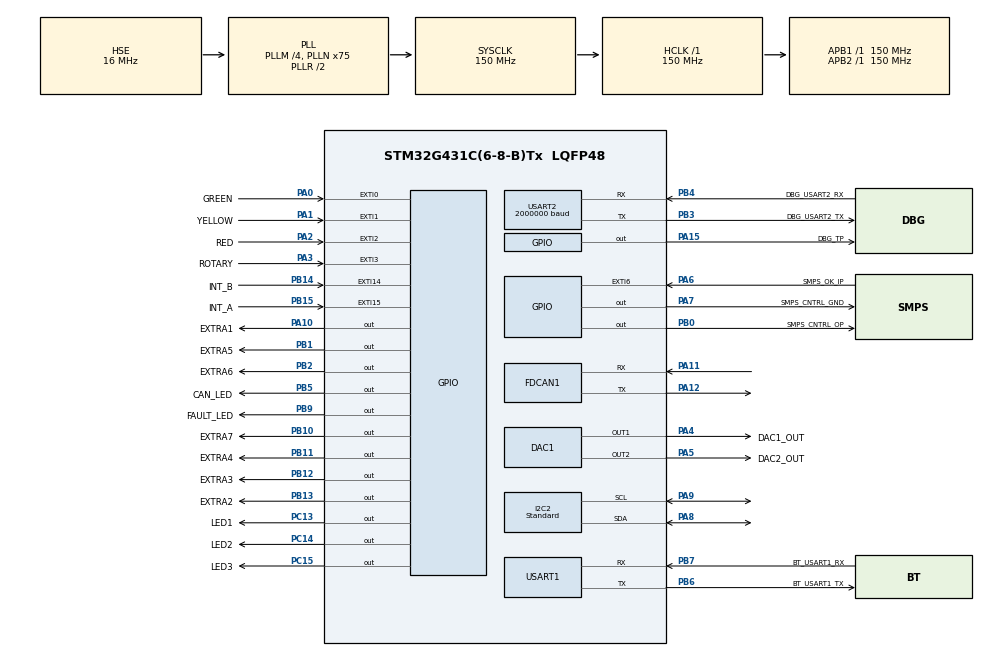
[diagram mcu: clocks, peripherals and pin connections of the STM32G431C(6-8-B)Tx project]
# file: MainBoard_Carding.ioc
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DAC1.DAC_Channel-DAC_OUT2=DAC_CHANNEL_2
Dma.Request0=USART1_RX
Dma.Request1=USART2_TX
Dma.USART1_RX.0.Direction=DMA_PERIPH_TO_MEMORY
Dma.USART1_RX.0.EventEnable=DISABLE
Dma.USART1_RX.0.Instance=DMA1_Channel1
Dma.USART1_RX.0.MemDataAlignment=DMA_MDATAALIGN_BYTE
Dma.USART1_RX.0.MemInc=DMA_MINC_ENABLE
Dma.USART1_RX.0.Mode=DMA_NORMAL
Dma.USART1_RX.0.PeriphDataAlignment=DMA_PDATAALIGN_BYTE
Dma.USART1_RX.0.PeriphInc=DMA_PINC_DISABLE
Dma.USART1_RX.0.Polarity=HAL_DMAMUX_REQ_GEN_RISING
Dma.USART1_RX.0.Priority=DMA_PRIORITY_LOW
Dma.USART1_RX.0.RequestNumber=1
Dma.USART1_RX.0.SignalID=NONE
Dma.USART1_RX.0.SyncEnable=DISABLE
Dma.USART1_RX.0.SyncPolarity=HAL_DMAMUX_SYNC_NO_EVENT
Dma.USART1_RX.0.SyncRequestNumber=1
Dma.USART1_RX.0.SyncSignalID=NONE
Dma.USART2_TX.1.Direction=DMA_MEMORY_TO_PERIPH
Dma.USART2_TX.1.EventEnable=DISABLE
Dma.USART2_TX.1.Instance=DMA1_Channel2
Dma.USART2_TX.1.MemDataAlignment=DMA_MDATAALIGN_BYTE
Dma.USART2_TX.1.MemInc=DMA_MINC_ENABLE
Dma.USART2_TX.1.Mode=DMA_NORMAL
Dma.USART2_TX.1.PeriphDataAlignment=DMA_PDATAALIGN_BYTE
Dma.USART2_TX.1.PeriphInc=DMA_PINC_DISABLE
Dma.USART2_TX.1.Polarity=HAL_DMAMUX_REQ_GEN_RISING
Dma.USART2_TX.1.Priority=DMA_PRIORITY_LOW
Dma.USART2_TX.1.RequestNumber=1
Dma.USART2_TX.1.SignalID=NONE
Dma.USART2_TX.1.SyncEnable=DISABLE
Dma.USART2_TX.1.SyncPolarity=HAL_DMAMUX_SYNC_NO_EVENT
Dma.USART2_TX.1.SyncRequestNumber=1
Dma.USART2_TX.1.SyncSignalID=NONE
FDCAN1.AutoRetransmission=ENABLE
FDCAN1.CalculateBaudRateNominal=5000000
FDCAN1.CalculateTimeBitNominal=200
FDCAN1.CalculateTimeQuantumNominal=6.666666666666667
FDCAN1.ClockDivider=FDCAN_CLOCK_DIV10
FDCAN1.DataSyncJumpWidth=3
FDCAN1.DataTimeSeg1=11
FDCAN1.DataTimeSeg2=3
FDCAN1.ExtFiltersNbr=1
FDCAN1.FrameFormat=FDCAN_FRAME_FD_BRS
FDCAN1.NominalPrescaler=1
FDCAN1.NominalSyncJumpWidth=6
FDCAN1.NominalTimeSeg1=23
FDCAN1.NominalTimeSeg2=6
FDCAN1.ProtocolException=DISABLE
FDCAN1.StdFiltersNbr=1
FDCAN1.TransmitPause=ENABLE
I2C2.Analog_Filter=I2C_ANALOGFILTER_DISABLE
I2C2.I2C_Fall_Time=200
I2C2.I2C_Rise_Time=300
I2C2.I2C_Speed_Mode=I2C_Standard
I2C2.NoStretchMode=I2C_NOSTRETCH_DISABLE
I2C2.Speed=50
I2C2.Timing=0x50D4E6FF
Mcu.Family=STM32G4
Mcu.Name=STM32G431C(6-8-B)Tx
Mcu.Package=LQFP48
NVIC.DMA1_Channel1_IRQn=true\:3\:0\:true\:false\:true\:false\:true\:true
NVIC.DMA1_Channel2_IRQn=true\:3\:0\:true\:false\:true\:false\:true\:true
NVIC.EXTI0_IRQn=true\:2\:0\:true\:false\:true\:true\:true\:true
NVIC.EXTI15_10_IRQn=true\:3\:0\:true\:false\:true\:true\:true\:true
NVIC.EXTI1_IRQn=true\:2\:0\:true\:false\:true\:true\:true\:true
NVIC.EXTI2_IRQn=true\:2\:0\:true\:false\:true\:true\:true\:true
NVIC.EXTI3_IRQn=true\:2\:0\:true\:false\:true\:true\:true\:true
NVIC.EXTI9_5_IRQn=true\:2\:0\:true\:false\:true\:true\:true\:true
NVIC.FDCAN1_IT0_IRQn=true\:0\:0\:false\:false\:true\:true\:true\:true
NVIC.PriorityGroup=NVIC_PRIORITYGROUP_4
NVIC.TIM1_BRK_TIM15_IRQn=true\:0\:0\:false\:false\:true\:true\:true\:true
NVIC.TIM1_TRG_COM_TIM17_IRQn=true\:5\:0\:true\:false\:true\:true\:true\:true
NVIC.TIM1_UP_TIM16_IRQn=true\:1\:0\:true\:false\:true\:true\:true\:true
NVIC.TIM6_DAC_IRQn=true\:0\:0\:false\:false\:true\:true\:true\:true
NVIC.TIM7_IRQn=true\:0\:0\:false\:false\:true\:true\:true\:true
NVIC.USART1_IRQn=true\:1\:0\:true\:false\:true\:true\:true\:true
NVIC.USART2_IRQn=true\:15\:0\:true\:false\:true\:true\:true\:true
PA0.GPIO_Label=GREEN
PA0.GPIO_ModeDefaultEXTI=GPIO_MODE_IT_RISING_FALLING
PA0.GPIO_PuPd=GPIO_PULLUP
PA0.Signal=GPXTI0
PA1.GPIO_Label=YELLOW
PA1.GPIO_ModeDefaultEXTI=GPIO_MODE_IT_RISING_FALLING
PA1.GPIO_PuPd=GPIO_PULLUP
PA1.Signal=GPXTI1
PA10.GPIO_Label=EXTRA1
PA10.Signal=GPIO_Output
PA11.Mode=FDCAN_Activate
PA11.Signal=FDCAN1_RX
PA12.Mode=FDCAN_Activate
PA12.Signal=FDCAN1_TX
PA13.Mode=Serial_Wire
PA13.Signal=SYS_JTMS-SWDIO
PA14.Mode=Serial_Wire
PA14.Signal=SYS_JTCK-SWCLK
PA15.GPIO_Label=DBG_TP
PA15.Signal=GPIO_Output
PA2.GPIO_Label=RED
PA2.GPIO_ModeDefaultEXTI=GPIO_MODE_IT_RISING_FALLING
PA2.GPIO_PuPd=GPIO_PULLUP
PA2.Signal=GPXTI2
PA3.GPIO_Label=ROTARY
PA3.GPIO_ModeDefaultEXTI=GPIO_MODE_IT_RISING_FALLING
PA3.GPIO_PuPd=GPIO_PULLUP
PA3.Signal=GPXTI3
PA4.GPIO_Label=DAC1_OUT
PA4.Signal=COMP_DAC11_group
PA5.GPIO_Label=DAC2_OUT
PA5.Signal=COMP_DAC12_group
PA6.GPIO_Label=SMPS_OK_IP
PA6.GPIO_ModeDefaultEXTI=GPIO_MODE_IT_RISING_FALLING
PA6.Signal=GPXTI6
PA7.GPIO_Label=SMPS_CNTRL_GND
PA7.Signal=GPIO_Output
PA8.Mode=I2C
PA8.Signal=I2C2_SDA
PA9.Mode=I2C
PA9.Signal=I2C2_SCL
PB0.GPIO_Label=SMPS_CNTRL_OP
PB0.Signal=GPIO_Output
PB1.GPIO_Label=EXTRA5
PB1.Signal=GPIO_Output
PB10.GPIO_Label=EXTRA7
PB10.Signal=GPIO_Output
PB11.GPIO_Label=EXTRA4
PB11.Signal=GPIO_Output
PB12.GPIO_Label=EXTRA3
PB12.Signal=GPIO_Output
PB13.GPIO_Label=EXTRA2
PB13.Signal=GPIO_Output
PB14.GPIO_Label=INT_B
PB14.GPIO_ModeDefaultEXTI=GPIO_MODE_IT_FALLING
PB14.Signal=GPXTI14
PB15.GPIO_Label=INT_A
PB15.GPIO_ModeDefaultEXTI=GPIO_MODE_IT_FALLING
PB15.Signal=GPXTI15
PB2.GPIO_Label=EXTRA6
PB2.Signal=GPIO_Output
PB3.GPIO_Label=DBG_USART2_TX
PB3.Mode=Asynchronous
PB3.Signal=USART2_TX
PB4.GPIO_Label=DBG_USART2_RX
PB4.Mode=Asynchronous
PB4.Signal=USART2_RX
PB5.GPIO_Label=CAN_LED
PB5.Signal=GPIO_Output
PB6.GPIO_Label=BT_USART1_TX
PB6.Mode=Asynchronous
PB6.Signal=USART1_TX
PB7.GPIO_Label=BT_USART1_RX
PB7.Mode=Asynchronous
PB7.Signal=USART1_RX
PB9.GPIO_Label=FAULT_LED
PB9.Signal=GPIO_Output
PC13.GPIO_Label=LED1
PC13.GPIO_ModeDefaultOutputPP=GPIO_MODE_OUTPUT_PP
PC13.GPIO_PuPd=GPIO_NOPULL
PC13.Signal=GPIO_Output
PC14-OSC32_IN.GPIO_Label=LED2
PC14-OSC32_IN.GPIO_ModeDefaultOutputPP=GPIO_MODE_OUTPUT_PP
PC14-OSC32_IN.GPIO_PuPd=GPIO_NOPULL
PC14-OSC32_IN.Signal=GPIO_Output
PC15-OSC32_OUT.GPIO_Label=LED3
PC15-OSC32_OUT.GPIO_ModeDefaultOutputPP=GPIO_MODE_OUTPUT_PP
PC15-OSC32_OUT.GPIO_PuPd=GPIO_NOPULL
PC15-OSC32_OUT.Signal=GPIO_Output
PF0-OSC_IN.Mode=HSE-External-Oscillator
PF0-OSC_IN.Signal=RCC_OSC_IN
PF1-OSC_OUT.Mode=HSE-External-Oscillator
PF1-OSC_OUT.Signal=RCC_OSC_OUT
ProjectManager.HeapSize=0x200
ProjectManager.StackSize=0x400
ProjectManager.TargetToolchain=STM32CubeIDE
RCC.ADC12Freq_Value=150000000
RCC.AHBFreq_Value=150000000
RCC.APB1Freq_Value=150000000
RCC.APB1TimFreq_Value=150000000
RCC.APB2Freq_Value=150000000
RCC.APB2TimFreq_Value=150000000
RCC.CortexFreq_Value=150000000
RCC.EXTERNAL_CLOCK_VALUE=12288000
RCC.HCLKFreq_Value=150000000
RCC.HSE_VALUE=16000000
RCC.HSI48_VALUE=48000000
RCC.HSI_VALUE=16000000
RCC.LSE_VALUE=32768
RCC.PLLM=RCC_PLLM_DIV4
RCC.PLLN=75
RCC.PLLSourceVirtual=RCC_PLLSOURCE_HSE
RCC.SYSCLKFreq_VALUE=150000000
RCC.SYSCLKSource=RCC_SYSCLKSOURCE_PLLCLK
RCC.USBFreq_Value=150000000
RCC.VCOOutputFreq_Value=300000000
SH.COMP_DAC11_group.0=DAC1_OUT1,DAC_OUT1
SH.COMP_DAC12_group.0=DAC1_OUT2,DAC_OUT2
TIM15.PeriodNoDither=24999
TIM15.Prescaler=1499
TIM16.AutoReloadPreload=TIM_AUTORELOAD_PRELOAD_ENABLE
TIM16.Dithering=Disable
TIM16.PeriodNoDither=4999
TIM16.Prescaler=29999
TIM17.AutoReloadPreload=TIM_AUTORELOAD_PRELOAD_ENABLE
TIM17.PeriodNoDither=1499
TIM17.Prescaler=1499
TIM6.PeriodNoDither=49999
TIM6.Prescaler=1499
TIM7.PeriodNoDither=9999
TIM7.Prescaler=1499
USART1.DMADisableonRxErrorParam=ADVFEATURE_DMA_DISABLEONRXERROR
USART1.OverrunDisableParam=ADVFEATURE_OVERRUN_DISABLE
USART1.SwapParam=ADVFEATURE_SWAP_ENABLE
USART1.VirtualMode-Asynchronous=VM_ASYNC
USART2.BaudRate=2000000
USART2.VirtualMode-Asynchronous=VM_ASYNC
VP_TIM15_VS_ClockSourceINT.Mode=Internal
VP_TIM16_VS_ClockSourceINT.Mode=Enable_Timer
VP_TIM17_VS_ClockSourceINT.Mode=Enable_Timer
VP_TIM6_VS_ClockSourceINT.Mode=Enable_Timer
VP_TIM7_VS_ClockSourceINT.Mode=Enable_Timer
board=custom

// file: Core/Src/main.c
/* USER CODE BEGIN Header */
/**
  ******************************************************************************
  * @file           : main.c
  * @brief          : Main program body
  ******************************************************************************
  * @attention
  *
  * Copyright (c) 2022 STMicroelectronics.
  * All rights reserved.
  *
  * This software is licensed under terms that can be found in the LICENSE file
  * in the root directory of this software component.
  * If no LICENSE file comes with this software, it is provided AS-IS.
  *
  ******************************************************************************
  */
/* USER CODE END Header */
#include "main.h"

/* USER CODE BEGIN Includes */
#include "FDCAN.h"
#include "CAN_MotherBoard.h"
#include "Ack.h"

#include "machineSettings.h"
#include "MachineErrors.h"
#include "MotorComms.h"
#include "SysObserver.h"

#include "userButtons.h"
#include "TowerLamp.h"
#include "SMPS.h"
#include "MachineSensors.h"
#include "mcp23017.h"
#include "Eeprom.h"
#include "Log.h"

#include "Struct.h"
#include "StateMachine.h"
#include "CommonConstants.h"

#include "BT_Fns.h"
#include "BT_Machine.h"
#include "BT_Console.h"

#include "MB_LEDs.h"

/* USER CODE END Includes */

/* USER CODE BEGIN PTD */
#define MCP23017_ADDRESS	0x21
/* USER CODE END PTD */

DAC_HandleTypeDef hdac1;

FDCAN_HandleTypeDef hfdcan1;

I2C_HandleTypeDef hi2c2;

TIM_HandleTypeDef htim6;
TIM_HandleTypeDef htim7;
TIM_HandleTypeDef htim15;
TIM_HandleTypeDef htim16;
TIM_HandleTypeDef htim17;

UART_HandleTypeDef huart1;
UART_HandleTypeDef huart2;
DMA_HandleTypeDef hdma_usart1_rx;
DMA_HandleTypeDef hdma_usart2_tx;

/* USER CODE BEGIN PV */
machineSettingsTypeDef msp;
machineSettingsTypeDef ps; // piecing settings
machineSettingsTypeDef msp_BT;
machineParamsTypeDef mcParams;
MBErrorsTypeDef MBE;
MachineErrorsTypedef ME;

SetupMotor SU[6];
ACKTypeDef ack;

StateTypeDef S;
DiagnosticsTypeDef D;
RunTime_TypeDef R[6]; // always keep this as 6, as max is 6 for carding

SysObserver SO;
BTRecvMsg_TypeDef BT;
BTConsole BTCmd;

userBtns usrBtns;
MCP23017_HandleTypeDef hmcp;
MCP23017_PortB mcp_portB;
MCP23017_PortB mcp_portB_whichSensor;
MCP23017_PortB mcp_portB_sensorVal;
SensorTypeDef sensor;
Log L;

char BufferRec[150];
char BufferTransmit[150] ;// Buffer for Transmit
char LogBuffer[2048];

int ductStateDbg = -1;
/* USER CODE END PV */

void SystemClock_Config(void);
static void MX_GPIO_Init(void);
static void MX_DMA_Init(void);
static void MX_FDCAN1_Init(void);
static void MX_USART1_UART_Init(void);
static void MX_DAC1_Init(void);
static void MX_USART2_UART_Init(void);
static void MX_I2C2_Init(void);
static void MX_TIM17_Init(void);
static void MX_TIM16_Init(void);
static void MX_TIM15_Init(void);
static void MX_TIM7_Init(void);
static void MX_TIM6_Init(void);

/* USER CODE BEGIN 0 */

uint8_t stopSMPS = 0;
uint8_t timer7Count = 0;

void HAL_TIM_PeriodElapsedCallback(TIM_HandleTypeDef *htim)
{
  UNUSED(htim);
  if(htim==&htim17){	// ACK TIMER - 15ms
	ack.waitingForAckResult = 0;
	if (ack.motorAcksCheck == ack.motorAcksRecvd){
		ack.ackResult = ACK_SUCCESS;
	}else{
		ack.ackResult = ACK_FAIL;
		if (ack.ackChkType == CRITICAL_ACK){
			ME.ErrorFlag = 1;
			ME_addErrors(&ME,ERR_SYSTEM_LEVEL_SOURCE, SYS_ACK_ERROR, ERROR_SOURCE_SYSTEM, ack.ackForWhat); // maybe later find out which ACK failed.
			S.SMPS_switchOff = 1;
		}
	}
	HAL_TIM_Base_Stop_IT(&htim17);
  }

  if (htim == &htim16){ // 1 sec timer that checks if the CAN connections are all OK.
	  SO.canOverallStatus = SO_checkCanObservers(&SO);
	  /*if (SO.canOverallStatus != ALL_CANS_HEALTHY ) {
		  ME.ErrorFlag = 1;
		  ME_addErrors(&ME,ERR_SYSTEM_LEVEL_SOURCE,SYS_CAN_CUT_ERROR, SO.canOverallStatus, 0); // maybe later find out which ACK failed.
		  S.SMPS_switchOff = 1;
		  //stp the timer if you find you have an error.
		  HAL_TIM_Base_Stop_IT(&htim16);
	  }*/
  }

  if(htim==&htim15){
	  // This is meant to send motor run time data to the app when diag is running.
	  // here all motors run only 1 at a time
	  if (D.motorID <= 6){
		  uint8_t packetSize = BT_MC_generateDiagnosticMsg(D.motorID);
		  HAL_UART_Transmit_IT(&huart1,(uint8_t*)BufferTransmit,packetSize);
	  }
  }

  if(htim == &htim7){ //100ms timer for state sending to BT
	  L.logSensorData = 1;
	  timer7Count ++;
	  if (timer7Count % 5 == 0){
		  S.BT_sendState = 1;
		  if ((S.runMode== RUN_ALL) || (S.runMode == RUN_PIECING)){
			  mcParams.currentMtrsRun += msp.delivery_mMin/60.0 * 0.5;
		  }
	  }

	  if (timer7Count == 10){
		  S.oneSecTimer++;
		  timer7Count = 0;
		  Toggle_State_LEDs(&S);

		  sensor.ductStateAlignementTimer++;
		  sensor.ductSensorDbgTimer++;
		  if (sensor.ductTimerIncrementBool){
			  sensor.ductSensorTimer++;
		  }
	  }
  }
}

uint8_t sensorTrigger;
uint8_t sensorVal;
void HAL_GPIO_EXTI_Callback(uint16_t GPIO_Pin){
	UNUSED(GPIO_Pin);

	/*if (GPIO_Pin == INT_B_Pin){
		sensorTrigger = Sensor_whichTriggered(&hmcp,&mcp_portB_sensorVal);
		if (sensorTrigger == DUCT_SENSOR){
			sensor.ductSensor = Sensor_GetTriggerValue(&hmcp,&mcp_portB_sensorVal,DUCT_SENSOR);
			// here if there is a change we get a trigger. So if we dont get a trigger value for
			// trigger seconds, it means the state has not changed for x sec.
		}
	}else*/

	if (GPIO_Pin == SMPS_OK_IP_Pin){
		// if the mother board has turned the SMPS on, but the smps is off, we have a problem!
		S.SMPS_OK_signal = (uint8_t)(HAL_GPIO_ReadPin(SMPS_OK_IP_GPIO_Port, SMPS_OK_IP_Pin));
		if ((S.SMPS_cntrl == SMPS_TURNEDON) && (S.SMPS_OK_signal == SMPS_OFF)){
			ME.ErrorFlag = 1;
			ME_addErrors(&ME,ERR_SYSTEM_LEVEL_SOURCE, SYS_SMPS_ERROR, ERROR_SOURCE_SYSTEM,0); // maybe later find out which ACK failed.
			S.SMPS_switchOff = 1;
		}
	}
	else{
		// for the user input buttons - RED_pin,Green_Pin,Yellow_Pin are falling edge interrupts. Rotary_Pin is both
		 usrBtns.initialState =(uint8_t)(HAL_GPIO_ReadPin(RED_GPIO_Port, GPIO_Pin));
		 if (GPIO_Pin == RED_Pin){
			  usrBtns.redBtn = usrBtns.initialState;
		  }
		  else if (GPIO_Pin == GREEN_Pin){
			  usrBtns.greenBtn = usrBtns.initialState;
		  }
		  else if (GPIO_Pin == YELLOW_Pin){
			  usrBtns.yellowBtn = usrBtns.initialState;
		  }else{
			  usrBtns.rotarySwitch = usrBtns.initialState;
		  }
	}
}

void HAL_FDCAN_RxFifo0Callback(FDCAN_HandleTypeDef *hfdcan, uint32_t RxFifo0ITs)
{

  if((RxFifo0ITs & FDCAN_IT_RX_FIFO0_NEW_MESSAGE) != RESET)
  {
    /* Retreive Rx messages from RX FIFO0 */
    if (HAL_FDCAN_GetRxMessage(hfdcan, FDCAN_RX_FIFO0, &RxHeader, RxData) == HAL_OK)
    {
    	FDCAN_parseForMotherBoard();
    }
    if (HAL_FDCAN_ActivateNotification(hfdcan, FDCAN_IT_RX_FIFO0_NEW_MESSAGE, 0) != HAL_OK)
    {
      /* Notification Error */
      Error_Handler();
    }
  }
}
/* USER CODE END 0 */

int main(void)
{

  /* MCU Configuration--------------------------------------------------------*/

  /* Reset of all peripherals, Initializes the Flash interface and the Systick. */
  HAL_Init();

  /* Configure the system clock */
  SystemClock_Config();

  /* Initialize all configured peripherals */
  MX_GPIO_Init();
  MX_DMA_Init();
  MX_FDCAN1_Init();
  MX_USART1_UART_Init();
  MX_DAC1_Init();
  MX_USART2_UART_Init();
  MX_I2C2_Init();
  MX_TIM17_Init();
  MX_TIM16_Init();
  MX_TIM15_Init();
  MX_TIM7_Init();
  MX_TIM6_Init();
  /* USER CODE BEGIN 2 */

  //SInitialize custom typeDefs
  InitializeDiagnostic_TypeDef(&D);
  InitializeMachineSettings(&msp);
  InitializeMotherBoardErrors_TypeDef(&MBE);
  InitializeState_TypeDef(&S);
  InitializeRunTime_TypeDef();
  InitializeBTMsg_TypeDef(&BT);

  FDCAN_TxInit();
  FDCAN_RxFilterInit();

  //get Flyer Settings from Eeprom
  ReadMachineSettingsFromEeprom(&msp);
  //TODO change this to the setup method like in the motor sections.
  MBE.EepromLoadValsGood  = CheckMachineSettings(&msp);
  //MBE.EepromLoadValsGood = 0;
  if (MBE.EepromLoadValsGood == 0){
	  LoadDefaultMachineSettings(&msp);
	  //manualWrite
	  /*msp.delivery_mMin = 8;
	  msp.draft = 8;
	  msp.cylinderSpeed = 1200;
	  msp.cylinderFeed = 15;
	  msp.beaterSpeed = 900;
	  msp.beaterFeed = 1.2;
	  msp.trunkDelay = 3;
	  msp.lengthLimit = 125;
	  msp.rampTimes = 3;*/
	  MBE.defaults_eepromWriteFailed = WriteMachineSettingsIntoEeprom(&msp);
  }
  CalculateMachineParameters(&msp,&mcParams);
  ReadySetupCommand_AllMotors(&msp,&mcParams);
  SO_Reset_InitialLiftPosRecieved(&SO);

  InitializePiecingSettings(&ps,&msp);

  //Interrupts on UART1 connected to the bluetooth
  __HAL_UART_ENABLE_IT(&huart1,UART_IT_IDLE);//interrupt on receive buffer not empty(buffer full)
  __HAL_UART_ENABLE_IT(&huart1,UART_IT_TC );//interrupt on Transmission Complete
  HAL_UART_Receive_DMA(&huart1,(uint8_t *)BufferRec,150);	 // start the receive here.

  __HAL_UART_ENABLE_IT(&huart2,UART_IT_TC );//interrupt on Transmission Complete

  //set up MCP chip
  mcp23017_init(&hmcp, &hi2c2, MCP23017_ADDRESS);
  mcp23017_setupForMainBoard(&hmcp);
  //set the initial Tower Lamp State
  TowerLamp_SetState(&hmcp, &mcp_portB,BUZZER_OFF,RED_OFF,GREEN_OFF,AMBER_OFF);
  TowerLamp_ApplyState(&hmcp,&mcp_portB);

  //read initial btns states and set either setup or run state.
  UsrBtns_SetInitialStates();
  if (usrBtns.rotarySwitch == ROTARY_SWITCH_OFF){
	  SetCoilerSensorState(&sensor,SENSOR_DISABLE);
  }else{
	  SetCoilerSensorState(&sensor,SENSOR_ENABLE);
  }
  S.current_state = INITIAL_STATE;
  ChangeState(&S,IDLE_STATE);

  //Setup the Bluetooth device MANUALLY ONLY.
  BTCmd.manual_setup = 1;
  if (BTCmd.manual_setup){
	  BTCmd.manual_setup_result = BT_SetupDevice();
	  if(BTCmd.manual_setup_result != 1){
		 BTCmd.manual_setup_rebootOK = BTConsole_WriteCMD(BTCMD_REBOOT);
	  }
  }

  //Start the 100 msec Timer for sending BT state commands
  HAL_TIM_Base_Start_IT(&htim7);
  //Start the 1000 msec Timer for checking if the CAN bus is Ok
  HAL_TIM_Base_Start_IT(&htim16);

  //at startup make both duct sensor states, instantaneous and current open
  sensor.ductSensor = Sensor_ReadValueDirectly(&hmcp,&mcp_portB_sensorVal,DUCT_SENSOR);
  sensor.ductCurrentState = sensor.ductSensor ;

  //SMPS - turn on the SMPS, wait a while to see if  short command.
  SMPS_Init();
  HAL_Delay(1000);//contactor takes a long time to turn on.
  S.SMPS_cntrl = SMPS_TURNEDON;

  /* USER CODE END 2 */

  /* Infinite loop */
  /* USER CODE BEGIN WHILE */

  while (1)
  {

	if (S.current_state == IDLE_STATE){
		IdleState();
	}

	if (S.current_state == RUN_STATE){
		RunState();
	}

	if (S.current_state == DEBUG_STATE){
		DebugState();
	}

	if (S.current_state == DIAGNOSTICS_STATE){
		DiagnosticsState();
	}

	if (S.current_state == SETTINGS_STATE){
		SettingsState();
	}

	if (S.current_state == ERROR_STATE){
		ErrorState();
	}

    /* USER CODE END WHILE */

  }
}

void SystemClock_Config(void)
{
  RCC_OscInitTypeDef RCC_OscInitStruct = {0};
  RCC_ClkInitTypeDef RCC_ClkInitStruct = {0};

  /** Configure the main internal regulator output voltage
  */
  HAL_PWREx_ControlVoltageScaling(PWR_REGULATOR_VOLTAGE_SCALE1);

  /** Initializes the RCC Oscillators according to the specified parameters
  * in the RCC_OscInitTypeDef structure.
  */
  RCC_OscInitStruct.OscillatorType = RCC_OSCILLATORTYPE_HSE;
  RCC_OscInitStruct.HSEState = RCC_HSE_ON;
  RCC_OscInitStruct.PLL.PLLState = RCC_PLL_ON;
  RCC_OscInitStruct.PLL.PLLSource = RCC_PLLSOURCE_HSE;
  RCC_OscInitStruct.PLL.PLLM = RCC_PLLM_DIV4;
  RCC_OscInitStruct.PLL.PLLN = 75;
  RCC_OscInitStruct.PLL.PLLP = RCC_PLLP_DIV2;
  RCC_OscInitStruct.PLL.PLLQ = RCC_PLLQ_DIV2;
  RCC_OscInitStruct.PLL.PLLR = RCC_PLLR_DIV2;
  if (HAL_RCC_OscConfig(&RCC_OscInitStruct) != HAL_OK)
  {
    Error_Handler();
  }

  /** Initializes the CPU, AHB and APB buses clocks
  */
  RCC_ClkInitStruct.ClockType = RCC_CLOCKTYPE_HCLK|RCC_CLOCKTYPE_SYSCLK
                              |RCC_CLOCKTYPE_PCLK1|RCC_CLOCKTYPE_PCLK2;
  RCC_ClkInitStruct.SYSCLKSource = RCC_SYSCLKSOURCE_PLLCLK;
  RCC_ClkInitStruct.AHBCLKDivider = RCC_SYSCLK_DIV1;
  RCC_ClkInitStruct.APB1CLKDivider = RCC_HCLK_DIV1;
  RCC_ClkInitStruct.APB2CLKDivider = RCC_HCLK_DIV1;

  if (HAL_RCC_ClockConfig(&RCC_ClkInitStruct, FLASH_LATENCY_4) != HAL_OK)
  {
    Error_Handler();
  }
}

static void MX_DAC1_Init(void)
{

  DAC_ChannelConfTypeDef sConfig = {0};

  /** DAC Initialization
  */
  hdac1.Instance = DAC1;
  if (HAL_DAC_Init(&hdac1) != HAL_OK)
  {
    Error_Handler();
  }

  /** DAC channel OUT1 config
  */
  sConfig.DAC_HighFrequency = DAC_HIGH_FREQUENCY_INTERFACE_MODE_AUTOMATIC;
  sConfig.DAC_DMADoubleDataMode = DISABLE;
  sConfig.DAC_SignedFormat = DISABLE;
  sConfig.DAC_SampleAndHold = DAC_SAMPLEANDHOLD_DISABLE;
  sConfig.DAC_Trigger = DAC_TRIGGER_NONE;
  sConfig.DAC_Trigger2 = DAC_TRIGGER_NONE;
  sConfig.DAC_OutputBuffer = DAC_OUTPUTBUFFER_ENABLE;
  sConfig.DAC_ConnectOnChipPeripheral = DAC_CHIPCONNECT_EXTERNAL;
  sConfig.DAC_UserTrimming = DAC_TRIMMING_FACTORY;
  if (HAL_DAC_ConfigChannel(&hdac1, &sConfig, DAC_CHANNEL_1) != HAL_OK)
  {
    Error_Handler();
  }

  /** DAC channel OUT2 config
  */
  if (HAL_DAC_ConfigChannel(&hdac1, &sConfig, DAC_CHANNEL_2) != HAL_OK)
  {
    Error_Handler();
  }

}

static void MX_FDCAN1_Init(void)
{

  hfdcan1.Instance = FDCAN1;
  hfdcan1.Init.ClockDivider = FDCAN_CLOCK_DIV10;
  hfdcan1.Init.FrameFormat = FDCAN_FRAME_FD_BRS;
  hfdcan1.Init.Mode = FDCAN_MODE_NORMAL;
  hfdcan1.Init.AutoRetransmission = ENABLE;
  hfdcan1.Init.TransmitPause = ENABLE;
  hfdcan1.Init.ProtocolException = DISABLE;
  hfdcan1.Init.NominalPrescaler = 1;
  hfdcan1.Init.NominalSyncJumpWidth = 6;
  hfdcan1.Init.NominalTimeSeg1 = 23;
  hfdcan1.Init.NominalTimeSeg2 = 6;
  hfdcan1.Init.DataPrescaler = 1;
  hfdcan1.Init.DataSyncJumpWidth = 3;
  hfdcan1.Init.DataTimeSeg1 = 11;
  hfdcan1.Init.DataTimeSeg2 = 3;
  hfdcan1.Init.StdFiltersNbr = 1;
  hfdcan1.Init.ExtFiltersNbr = 1;
  hfdcan1.Init.TxFifoQueueMode = FDCAN_TX_FIFO_OPERATION;
  if (HAL_FDCAN_Init(&hfdcan1) != HAL_OK)
  {
    Error_Handler();
  }

}

static void MX_I2C2_Init(void)
{

  hi2c2.Instance = I2C2;
  hi2c2.Init.Timing = 0x50D4E6FF;
  hi2c2.Init.OwnAddress1 = 0;
  hi2c2.Init.AddressingMode = I2C_ADDRESSINGMODE_7BIT;
  hi2c2.Init.DualAddressMode = I2C_DUALADDRESS_DISABLE;
  hi2c2.Init.OwnAddress2 = 0;
  hi2c2.Init.OwnAddress2Masks = I2C_OA2_NOMASK;
  hi2c2.Init.GeneralCallMode = I2C_GENERALCALL_DISABLE;
  hi2c2.Init.NoStretchMode = I2C_NOSTRETCH_DISABLE;
  if (HAL_I2C_Init(&hi2c2) != HAL_OK)
  {
    Error_Handler();
  }

  /** Configure Analogue filter
  */
  if (HAL_I2CEx_ConfigAnalogFilter(&hi2c2, I2C_ANALOGFILTER_DISABLE) != HAL_OK)
  {
    Error_Handler();
  }

  /** Configure Digital filter
  */
  if (HAL_I2CEx_ConfigDigitalFilter(&hi2c2, 0) != HAL_OK)
  {
    Error_Handler();
  }

}

static void MX_TIM6_Init(void)
{

  TIM_MasterConfigTypeDef sMasterConfig = {0};

  htim6.Instance = TIM6;
  htim6.Init.Prescaler = 2999;
  htim6.Init.CounterMode = TIM_COUNTERMODE_UP;
  htim6.Init.Period = 49999;
  htim6.Init.AutoReloadPreload = TIM_AUTORELOAD_PRELOAD_DISABLE;
  if (HAL_TIM_Base_Init(&htim6) != HAL_OK)
  {
    Error_Handler();
  }
  sMasterConfig.MasterOutputTrigger = TIM_TRGO_RESET;
  sMasterConfig.MasterSlaveMode = TIM_MASTERSLAVEMODE_DISABLE;
  if (HAL_TIMEx_MasterConfigSynchronization(&htim6, &sMasterConfig) != HAL_OK)
  {
    Error_Handler();
  }

}

static void MX_TIM7_Init(void)
{

  TIM_MasterConfigTypeDef sMasterConfig = {0};

  htim7.Instance = TIM7;
  htim7.Init.Prescaler = 1499;
  htim7.Init.CounterMode = TIM_COUNTERMODE_UP;
  htim7.Init.Period = 9999;
  htim7.Init.AutoReloadPreload = TIM_AUTORELOAD_PRELOAD_DISABLE;
  if (HAL_TIM_Base_Init(&htim7) != HAL_OK)
  {
    Error_Handler();
  }
  sMasterConfig.MasterOutputTrigger = TIM_TRGO_RESET;
  sMasterConfig.MasterSlaveMode = TIM_MASTERSLAVEMODE_DISABLE;
  if (HAL_TIMEx_MasterConfigSynchronization(&htim7, &sMasterConfig) != HAL_OK)
  {
    Error_Handler();
  }

}

static void MX_TIM15_Init(void)
{

  TIM_ClockConfigTypeDef sClockSourceConfig = {0};
  TIM_MasterConfigTypeDef sMasterConfig = {0};

  htim15.Instance = TIM15;
  htim15.Init.Prescaler = 1499;
  htim15.Init.CounterMode = TIM_COUNTERMODE_UP;
  htim15.Init.Period = 24999;
  htim15.Init.ClockDivision = TIM_CLOCKDIVISION_DIV1;
  htim15.Init.RepetitionCounter = 0;
  htim15.Init.AutoReloadPreload = TIM_AUTORELOAD_PRELOAD_DISABLE;
  if (HAL_TIM_Base_Init(&htim15) != HAL_OK)
  {
    Error_Handler();
  }
  sClockSourceConfig.ClockSource = TIM_CLOCKSOURCE_INTERNAL;
  if (HAL_TIM_ConfigClockSource(&htim15, &sClockSourceConfig) != HAL_OK)
  {
    Error_Handler();
  }
  sMasterConfig.MasterOutputTrigger = TIM_TRGO_RESET;
  sMasterConfig.MasterSlaveMode = TIM_MASTERSLAVEMODE_DISABLE;
  if (HAL_TIMEx_MasterConfigSynchronization(&htim15, &sMasterConfig) != HAL_OK)
  {
    Error_Handler();
  }

}

static void MX_TIM16_Init(void)
{

  htim16.Instance = TIM16;
  htim16.Init.Prescaler = 29999;
  htim16.Init.CounterMode = TIM_COUNTERMODE_UP;
  htim16.Init.Period = 4999;
  htim16.Init.ClockDivision = TIM_CLOCKDIVISION_DIV1;
  htim16.Init.RepetitionCounter = 0;
  htim16.Init.AutoReloadPreload = TIM_AUTORELOAD_PRELOAD_ENABLE;
  if (HAL_TIM_Base_Init(&htim16) != HAL_OK)
  {
    Error_Handler();
  }

}

static void MX_TIM17_Init(void)
{

  /* USER CODE BEGIN TIM17_Init 1 */
//2uS timer
  /* USER CODE END TIM17_Init 1 */
  htim17.Instance = TIM17;
  htim17.Init.Prescaler = 1499;
  htim17.Init.CounterMode = TIM_COUNTERMODE_UP;
  htim17.Init.Period = 1499;
  htim17.Init.ClockDivision = TIM_CLOCKDIVISION_DIV1;
  htim17.Init.RepetitionCounter = 0;
  htim17.Init.AutoReloadPreload = TIM_AUTORELOAD_PRELOAD_ENABLE;
  if (HAL_TIM_Base_Init(&htim17) != HAL_OK)
  {
    Error_Handler();
  }

}

static void MX_USART1_UART_Init(void)
{

  huart1.Instance = USART1;
  huart1.Init.BaudRate = 115200;
  huart1.Init.WordLength = UART_WORDLENGTH_8B;
  huart1.Init.StopBits = UART_STOPBITS_1;
  huart1.Init.Parity = UART_PARITY_NONE;
  huart1.Init.Mode = UART_MODE_TX_RX;
  huart1.Init.HwFlowCtl = UART_HWCONTROL_NONE;
  huart1.Init.OverSampling = UART_OVERSAMPLING_16;
  huart1.Init.OneBitSampling = UART_ONE_BIT_SAMPLE_DISABLE;
  huart1.Init.ClockPrescaler = UART_PRESCALER_DIV1;
  huart1.AdvancedInit.AdvFeatureInit = UART_ADVFEATURE_SWAP_INIT|UART_ADVFEATURE_RXOVERRUNDISABLE_INIT
                              |UART_ADVFEATURE_DMADISABLEONERROR_INIT;
  huart1.AdvancedInit.Swap = UART_ADVFEATURE_SWAP_ENABLE;
  huart1.AdvancedInit.OverrunDisable = UART_ADVFEATURE_OVERRUN_DISABLE;
  huart1.AdvancedInit.DMADisableonRxError = UART_ADVFEATURE_DMA_DISABLEONRXERROR;
  if (HAL_UART_Init(&huart1) != HAL_OK)
  {
    Error_Handler();
  }
  if (HAL_UARTEx_SetTxFifoThreshold(&huart1, UART_TXFIFO_THRESHOLD_1_8) != HAL_OK)
  {
    Error_Handler();
  }
  if (HAL_UARTEx_SetRxFifoThreshold(&huart1, UART_RXFIFO_THRESHOLD_1_8) != HAL_OK)
  {
    Error_Handler();
  }
  if (HAL_UARTEx_DisableFifoMode(&huart1) != HAL_OK)
  {
    Error_Handler();
  }

}

static void MX_USART2_UART_Init(void)
{

  huart2.Instance = USART2;
  huart2.Init.BaudRate = 2000000;
  huart2.Init.WordLength = UART_WORDLENGTH_8B;
  huart2.Init.StopBits = UART_STOPBITS_1;
  huart2.Init.Parity = UART_PARITY_NONE;
  huart2.Init.Mode = UART_MODE_TX_RX;
  huart2.Init.HwFlowCtl = UART_HWCONTROL_NONE;
  huart2.Init.OverSampling = UART_OVERSAMPLING_16;
  huart2.Init.OneBitSampling = UART_ONE_BIT_SAMPLE_DISABLE;
  huart2.Init.ClockPrescaler = UART_PRESCALER_DIV1;
  huart2.AdvancedInit.AdvFeatureInit = UART_ADVFEATURE_NO_INIT;
  if (HAL_UART_Init(&huart2) != HAL_OK)
  {
    Error_Handler();
  }
  if (HAL_UARTEx_SetTxFifoThreshold(&huart2, UART_TXFIFO_THRESHOLD_1_8) != HAL_OK)
  {
    Error_Handler();
  }
  if (HAL_UARTEx_SetRxFifoThreshold(&huart2, UART_RXFIFO_THRESHOLD_1_8) != HAL_OK)
  {
    Error_Handler();
  }
  if (HAL_UARTEx_DisableFifoMode(&huart2) != HAL_OK)
  {
    Error_Handler();
  }

}

static void MX_DMA_Init(void)
{

  /* DMA controller clock enable */
  __HAL_RCC_DMAMUX1_CLK_ENABLE();
  __HAL_RCC_DMA1_CLK_ENABLE();

  /* DMA interrupt init */
  /* DMA1_Channel1_IRQn interrupt configuration */
  HAL_NVIC_SetPriority(DMA1_Channel1_IRQn, 3, 0);
  HAL_NVIC_EnableIRQ(DMA1_Channel1_IRQn);
  /* DMA1_Channel2_IRQn interrupt configuration */
  HAL_NVIC_SetPriority(DMA1_Channel2_IRQn, 3, 0);
  HAL_NVIC_EnableIRQ(DMA1_Channel2_IRQn);

}

static void MX_GPIO_Init(void)
{
  GPIO_InitTypeDef GPIO_InitStruct = {0};

  /* GPIO Ports Clock Enable */
  __HAL_RCC_GPIOC_CLK_ENABLE();
  __HAL_RCC_GPIOF_CLK_ENABLE();
  __HAL_RCC_GPIOA_CLK_ENABLE();
  __HAL_RCC_GPIOB_CLK_ENABLE();

  /*Configure GPIO pin Output Level */
  HAL_GPIO_WritePin(GPIOC, LED1_Pin|LED2_Pin|LED3_Pin, GPIO_PIN_RESET);

  /*Configure GPIO pin Output Level */
  HAL_GPIO_WritePin(GPIOA, SMPS_CNTRL_GND_Pin|EXTRA1_Pin|DBG_TP_Pin, GPIO_PIN_RESET);

  /*Configure GPIO pin Output Level */
  HAL_GPIO_WritePin(GPIOB, SMPS_CNTRL_OP_Pin|EXTRA5_Pin|EXTRA6_Pin|EXTRA7_Pin
                          |EXTRA4_Pin|EXTRA3_Pin|EXTRA2_Pin|CAN_LED_Pin
                          |FAULT_LED_Pin, GPIO_PIN_RESET);

  /*Configure GPIO pins : LED1_Pin LED2_Pin LED3_Pin */
  GPIO_InitStruct.Pin = LED1_Pin|LED2_Pin|LED3_Pin;
  GPIO_InitStruct.Mode = GPIO_MODE_OUTPUT_PP;
  GPIO_InitStruct.Pull = GPIO_NOPULL;
  GPIO_InitStruct.Speed = GPIO_SPEED_FREQ_LOW;
  HAL_GPIO_Init(GPIOC, &GPIO_InitStruct);

  /*Configure GPIO pins : GREEN_Pin YELLOW_Pin RED_Pin ROTARY_Pin */
  GPIO_InitStruct.Pin = GREEN_Pin|YELLOW_Pin|RED_Pin|ROTARY_Pin;
  GPIO_InitStruct.Mode = GPIO_MODE_IT_RISING_FALLING;
  GPIO_InitStruct.Pull = GPIO_PULLUP;
  HAL_GPIO_Init(GPIOA, &GPIO_InitStruct);

  /*Configure GPIO pin : SMPS_OK_IP_Pin */
  GPIO_InitStruct.Pin = SMPS_OK_IP_Pin;
  GPIO_InitStruct.Mode = GPIO_MODE_IT_RISING_FALLING;
  GPIO_InitStruct.Pull = GPIO_NOPULL;
  HAL_GPIO_Init(SMPS_OK_IP_GPIO_Port, &GPIO_InitStruct);

  /*Configure GPIO pins : SMPS_CNTRL_GND_Pin EXTRA1_Pin DBG_TP_Pin */
  GPIO_InitStruct.Pin = SMPS_CNTRL_GND_Pin|EXTRA1_Pin|DBG_TP_Pin;
  GPIO_InitStruct.Mode = GPIO_MODE_OUTPUT_PP;
  GPIO_InitStruct.Pull = GPIO_NOPULL;
  GPIO_InitStruct.Speed = GPIO_SPEED_FREQ_LOW;
  HAL_GPIO_Init(GPIOA, &GPIO_InitStruct);

  /*Configure GPIO pins : SMPS_CNTRL_OP_Pin EXTRA5_Pin EXTRA6_Pin EXTRA7_Pin
                           EXTRA4_Pin EXTRA3_Pin EXTRA2_Pin CAN_LED_Pin
                           FAULT_LED_Pin */
  GPIO_InitStruct.Pin = SMPS_CNTRL_OP_Pin|EXTRA5_Pin|EXTRA6_Pin|EXTRA7_Pin
                          |EXTRA4_Pin|EXTRA3_Pin|EXTRA2_Pin|CAN_LED_Pin
                          |FAULT_LED_Pin;
  GPIO_InitStruct.Mode = GPIO_MODE_OUTPUT_PP;
  GPIO_InitStruct.Pull = GPIO_NOPULL;
  GPIO_InitStruct.Speed = GPIO_SPEED_FREQ_LOW;
  HAL_GPIO_Init(GPIOB, &GPIO_InitStruct);

  /*Configure GPIO pins : INT_B_Pin INT_A_Pin */
  GPIO_InitStruct.Pin = INT_B_Pin|INT_A_Pin;
  GPIO_InitStruct.Mode = GPIO_MODE_IT_FALLING;
  GPIO_InitStruct.Pull = GPIO_NOPULL;
  HAL_GPIO_Init(GPIOB, &GPIO_InitStruct);

  /* EXTI interrupt init*/
  HAL_NVIC_SetPriority(EXTI0_IRQn, 2, 0);
  HAL_NVIC_EnableIRQ(EXTI0_IRQn);

  HAL_NVIC_SetPriority(EXTI1_IRQn, 2, 0);
  HAL_NVIC_EnableIRQ(EXTI1_IRQn);

  HAL_NVIC_SetPriority(EXTI2_IRQn, 2, 0);
  HAL_NVIC_EnableIRQ(EXTI2_IRQn);

  HAL_NVIC_SetPriority(EXTI3_IRQn, 2, 0);
  HAL_NVIC_EnableIRQ(EXTI3_IRQn);

  HAL_NVIC_SetPriority(EXTI9_5_IRQn, 2, 0);
  HAL_NVIC_EnableIRQ(EXTI9_5_IRQn);

  HAL_NVIC_SetPriority(EXTI15_10_IRQn, 3, 0);
  HAL_NVIC_EnableIRQ(EXTI15_10_IRQn);

}

void Error_Handler(void)
{
  /* USER CODE BEGIN Error_Handler_Debug */
	//TODO here send some error Code to the App.
  /* User can add his own implementation to report the HAL error return state */
  __disable_irq();
  while (1)
  {
  }
  /* USER CODE END Error_Handler_Debug */
}
